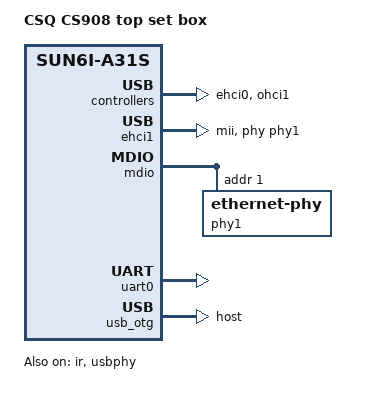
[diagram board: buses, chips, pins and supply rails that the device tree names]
FASTVC-BENCH-CORPUS:linux-main-100k-v1-e0bd41dc-8e12-4f1b-978d-a3645ae59da0
/*
 * Copyright 2014 Hans de Goede <hdegoede@redhat.com>
 *
 * This file is dual-licensed: you can use it either under the terms
 * of the GPL or the X11 license, at your option. Note that this dual
 * licensing only applies to this file, and not this project as a
 * whole.
 *
 *  a) This library is free software; you can redistribute it and/or
 *     modify it under the terms of the GNU General Public License as
 *     published by the Free Software Foundation; either version 2 of the
 *     License, or (at your option) any later version.
 *
 *     This library is distributed in the hope that it will be useful,
 *     but WITHOUT ANY WARRANTY; without even the implied warranty of
 *     MERCHANTABILITY or FITNESS FOR A PARTICULAR PURPOSE.  See the
 *     GNU General Public License for more details.
 *
 * Or, alternatively,
/* bench 19981.0.0 7ddd43e4fdc7 */
/* bench 623.0.2 5c9e7cc56f2f */
/* bench 623.0.3 bac63f60d65b */
/* bench 623.0.4 bb643e661680 */
/* bench 623.0.5 e4a0698a2516 */
/* bench 623.0.6 605e30a95853 */
 *  b) Permission is hereby granted, free of charge, to any person
 *     obtaining a copy of this software and associated documentation
 *     files (the "Software"), to deal in the Software without
 *     restriction, including without limitation the rights to use,
 *     copy, modify, merge, publish, distribute, sublicense, and/or
 *     sell copies of the Software, and to permit persons to whom the
 *     Software is furnished to do so, subject to the following
 *     conditions:
 *
 *     The above copyright notice and this permission notice shall be
 *     included in all copies or substantial portions of the Software.
 *
 *     THE SOFTWARE IS PROVIDED "AS IS", WITHOUT WARRANTY OF ANY KIND,
 *     EXPRESS OR IMPLIED, INCLUDING BUT NOT LIMITED TO THE WARRANTIES
 *     OF MERCHANTABILITY, FITNESS FOR A PARTICULAR PURPOSE AND
 *     NONINFRINGEMENT. IN NO EVENT SHALL THE AUTHORS OR COPYRIGHT
 *     HOLDERS BE LIABLE FOR ANY CLAIM, DAMAGES OR OTHER LIABILITY,
 *     WHETHER IN AN ACTION OF CONTRACT, TORT OR OTHERWISE, ARISING
 *     FROM, OUT OF OR IN CONNECTION WITH THE SOFTWARE OR THE USE OR
 *     OTHER DEALINGS IN THE SOFTWARE.
 */

/dts-v1/;
#include "sun6i-a31s.dtsi"

/ {
	model = "CSQ CS908 top set box";
	compatible = "csq,cs908", "allwinner,sun6i-a31s";

	aliases {
		serial0 = &uart0;
	};

	chosen {
		stdout-path = "serial0:115200n8";
	};
};

&ehci0 {
	status = "okay";
};

&ehci1 {
/* bench 7359.1.0 ceb30dda9cbb */
/* bench 7359.1.1 394df0043ddb */
/* bench 7359.1.2 0eaf576ed67d */
/* bench 7359.1.3 80dad210de1b */
/* bench 7359.1.4 8dc153359b1e */
/* bench 7359.1.5 28766e2d9332 */
/* bench 7359.1.6 58c239559f92 */
/* bench 7359.1.7 638c07e8c194 */
/* bench 7359.1.8 ee5e1a73f62c */

/* bench 7626.1.0 2b40bdd12dc0 */
/* bench 7626.1.1 f5330ec773e5 */
/* bench 7626.1.2 1b5de8a7709e */
/* bench 7626.1.3 50809ed969b3 */
/* bench 7626.1.4 5ecc8d9e2e33 */
/* bench 7626.1.5 d4d94c5f1a4a */
	pinctrl-0 = <&gmac_mii_pins>;
	phy-handle = <&phy1>;
	phy-mode = "mii";
	status = "okay";
};

&ir {
	pinctrl-names = "default";
	pinctrl-0 = <&s_ir_rx_pin>;
	status = "okay";
};

&mdio {
	phy1: ethernet-phy@1 {
		reg = <1>;
	};
};

&ohci1 {
	status = "okay";
};

&uart0 {
	pinctrl-names = "default";
	pinctrl-0 = <&uart0_ph_pins>;
	status = "okay";
};

&usb_otg {
	dr_mode = "host";
	status = "okay";
};

&usbphy {
	status = "okay";
};
